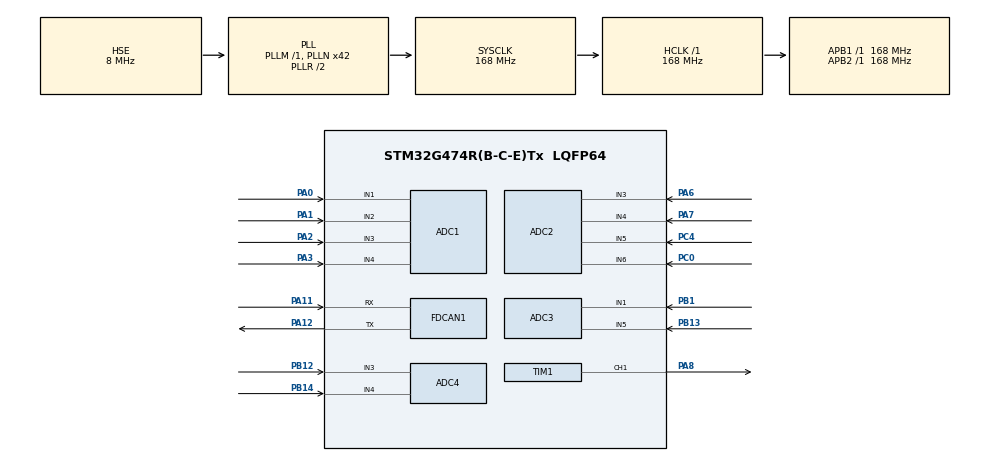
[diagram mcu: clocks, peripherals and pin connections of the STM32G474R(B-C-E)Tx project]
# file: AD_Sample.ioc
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ADC1.Channel-0\#ChannelRegularConversion=ADC_CHANNEL_1
ADC1.Channel-1\#ChannelRegularConversion=ADC_CHANNEL_2
ADC1.Channel-2\#ChannelRegularConversion=ADC_CHANNEL_3
ADC1.Channel-3\#ChannelRegularConversion=ADC_CHANNEL_4
ADC1.DiscontinuousConvMode=ENABLE
ADC1.ExternalTrigConv=ADC_SOFTWARE_START
ADC1.NbrOfConversion=4
ADC1.NbrOfConversionFlag=1
ADC1.NbrOfDiscConversion=4
ADC1.OffsetNumber-0\#ChannelRegularConversion=ADC_OFFSET_NONE
ADC1.OffsetNumber-1\#ChannelRegularConversion=ADC_OFFSET_NONE
ADC1.OffsetNumber-2\#ChannelRegularConversion=ADC_OFFSET_NONE
ADC1.OffsetNumber-3\#ChannelRegularConversion=ADC_OFFSET_NONE
ADC1.Rank-0\#ChannelRegularConversion=1
ADC1.Rank-1\#ChannelRegularConversion=2
ADC1.Rank-2\#ChannelRegularConversion=3
ADC1.Rank-3\#ChannelRegularConversion=4
ADC1.SamplingTime-0\#ChannelRegularConversion=ADC_SAMPLETIME_2CYCLES_5
ADC1.SamplingTime-1\#ChannelRegularConversion=ADC_SAMPLETIME_2CYCLES_5
ADC1.SamplingTime-2\#ChannelRegularConversion=ADC_SAMPLETIME_2CYCLES_5
ADC1.SamplingTime-3\#ChannelRegularConversion=ADC_SAMPLETIME_2CYCLES_5
ADC1.master=1
ADC2.Channel-0\#ChannelRegularConversion=ADC_CHANNEL_3
ADC2.Channel-1\#ChannelRegularConversion=ADC_CHANNEL_4
ADC2.Channel-2\#ChannelRegularConversion=ADC_CHANNEL_5
ADC2.Channel-3\#ChannelRegularConversion=ADC_CHANNEL_6
ADC2.DiscontinuousConvMode=ENABLE
ADC2.ExternalTrigConv=ADC_SOFTWARE_START
ADC2.NbrOfConversion=4
ADC2.NbrOfConversionFlag=1
ADC2.OffsetNumber-0\#ChannelRegularConversion=ADC_OFFSET_NONE
ADC2.OffsetNumber-1\#ChannelRegularConversion=ADC_OFFSET_NONE
ADC2.OffsetNumber-2\#ChannelRegularConversion=ADC_OFFSET_NONE
ADC2.OffsetNumber-3\#ChannelRegularConversion=ADC_OFFSET_NONE
ADC2.Rank-0\#ChannelRegularConversion=1
ADC2.Rank-1\#ChannelRegularConversion=2
ADC2.Rank-2\#ChannelRegularConversion=3
ADC2.Rank-3\#ChannelRegularConversion=4
ADC2.SamplingTime-0\#ChannelRegularConversion=ADC_SAMPLETIME_2CYCLES_5
ADC2.SamplingTime-1\#ChannelRegularConversion=ADC_SAMPLETIME_2CYCLES_5
ADC2.SamplingTime-2\#ChannelRegularConversion=ADC_SAMPLETIME_2CYCLES_5
ADC2.SamplingTime-3\#ChannelRegularConversion=ADC_SAMPLETIME_2CYCLES_5
ADC3.Channel-0\#ChannelRegularConversion=ADC_CHANNEL_1
ADC3.Channel-1\#ChannelRegularConversion=ADC_CHANNEL_5
ADC3.DiscontinuousConvMode=ENABLE
ADC3.ExternalTrigConv=ADC_SOFTWARE_START
ADC3.NbrOfConversion=2
ADC3.NbrOfConversionFlag=1
ADC3.OffsetNumber-0\#ChannelRegularConversion=ADC_OFFSET_NONE
ADC3.OffsetNumber-1\#ChannelRegularConversion=ADC_OFFSET_NONE
ADC3.Rank-0\#ChannelRegularConversion=1
ADC3.Rank-1\#ChannelRegularConversion=2
ADC3.SamplingTime-0\#ChannelRegularConversion=ADC_SAMPLETIME_2CYCLES_5
ADC3.SamplingTime-1\#ChannelRegularConversion=ADC_SAMPLETIME_2CYCLES_5
ADC3.master=1
ADC4.Channel-0\#ChannelRegularConversion=ADC_CHANNEL_3
ADC4.Channel-1\#ChannelRegularConversion=ADC_CHANNEL_4
ADC4.DiscontinuousConvMode=ENABLE
ADC4.ExternalTrigConv=ADC_SOFTWARE_START
ADC4.NbrOfConversion=2
ADC4.NbrOfConversionFlag=1
ADC4.OffsetNumber-0\#ChannelRegularConversion=ADC_OFFSET_NONE
ADC4.OffsetNumber-1\#ChannelRegularConversion=ADC_OFFSET_NONE
ADC4.Rank-0\#ChannelRegularConversion=1
ADC4.Rank-1\#ChannelRegularConversion=2
ADC4.SamplingTime-0\#ChannelRegularConversion=ADC_SAMPLETIME_2CYCLES_5
ADC4.SamplingTime-1\#ChannelRegularConversion=ADC_SAMPLETIME_2CYCLES_5
Dma.ADC1.2.Direction=DMA_PERIPH_TO_MEMORY
Dma.ADC1.2.EventEnable=DISABLE
Dma.ADC1.2.Instance=DMA1_Channel3
Dma.ADC1.2.MemDataAlignment=DMA_MDATAALIGN_HALFWORD
Dma.ADC1.2.MemInc=DMA_MINC_ENABLE
Dma.ADC1.2.Mode=DMA_CIRCULAR
Dma.ADC1.2.PeriphDataAlignment=DMA_PDATAALIGN_HALFWORD
Dma.ADC1.2.PeriphInc=DMA_PINC_DISABLE
Dma.ADC1.2.Polarity=HAL_DMAMUX_REQ_GEN_RISING
Dma.ADC1.2.Priority=DMA_PRIORITY_LOW
Dma.ADC1.2.RequestNumber=1
Dma.ADC1.2.SignalID=NONE
Dma.ADC1.2.SyncEnable=DISABLE
Dma.ADC1.2.SyncPolarity=HAL_DMAMUX_SYNC_NO_EVENT
Dma.ADC1.2.SyncRequestNumber=1
Dma.ADC1.2.SyncSignalID=NONE
Dma.ADC2.3.Direction=DMA_PERIPH_TO_MEMORY
Dma.ADC2.3.EventEnable=DISABLE
Dma.ADC2.3.Instance=DMA1_Channel4
Dma.ADC2.3.MemDataAlignment=DMA_MDATAALIGN_HALFWORD
Dma.ADC2.3.MemInc=DMA_MINC_ENABLE
Dma.ADC2.3.Mode=DMA_CIRCULAR
Dma.ADC2.3.PeriphDataAlignment=DMA_PDATAALIGN_HALFWORD
Dma.ADC2.3.PeriphInc=DMA_PINC_DISABLE
Dma.ADC2.3.Polarity=HAL_DMAMUX_REQ_GEN_RISING
Dma.ADC2.3.Priority=DMA_PRIORITY_LOW
Dma.ADC2.3.RequestNumber=1
Dma.ADC2.3.SignalID=NONE
Dma.ADC2.3.SyncEnable=DISABLE
Dma.ADC2.3.SyncPolarity=HAL_DMAMUX_SYNC_NO_EVENT
Dma.ADC2.3.SyncRequestNumber=1
Dma.ADC2.3.SyncSignalID=NONE
Dma.ADC3.4.Direction=DMA_PERIPH_TO_MEMORY
Dma.ADC3.4.EventEnable=DISABLE
Dma.ADC3.4.Instance=DMA1_Channel5
Dma.ADC3.4.MemDataAlignment=DMA_MDATAALIGN_HALFWORD
Dma.ADC3.4.MemInc=DMA_MINC_ENABLE
Dma.ADC3.4.Mode=DMA_CIRCULAR
Dma.ADC3.4.PeriphDataAlignment=DMA_PDATAALIGN_HALFWORD
Dma.ADC3.4.PeriphInc=DMA_PINC_DISABLE
Dma.ADC3.4.Polarity=HAL_DMAMUX_REQ_GEN_RISING
Dma.ADC3.4.Priority=DMA_PRIORITY_LOW
Dma.ADC3.4.RequestNumber=1
Dma.ADC3.4.SignalID=NONE
Dma.ADC3.4.SyncEnable=DISABLE
Dma.ADC3.4.SyncPolarity=HAL_DMAMUX_SYNC_NO_EVENT
Dma.ADC3.4.SyncRequestNumber=1
Dma.ADC3.4.SyncSignalID=NONE
Dma.ADC4.5.Direction=DMA_PERIPH_TO_MEMORY
Dma.ADC4.5.EventEnable=DISABLE
Dma.ADC4.5.Instance=DMA1_Channel6
Dma.ADC4.5.MemDataAlignment=DMA_MDATAALIGN_HALFWORD
Dma.ADC4.5.MemInc=DMA_MINC_ENABLE
Dma.ADC4.5.Mode=DMA_CIRCULAR
Dma.ADC4.5.PeriphDataAlignment=DMA_PDATAALIGN_HALFWORD
Dma.ADC4.5.PeriphInc=DMA_PINC_DISABLE
Dma.ADC4.5.Polarity=HAL_DMAMUX_REQ_GEN_RISING
Dma.ADC4.5.Priority=DMA_PRIORITY_LOW
Dma.ADC4.5.RequestNumber=1
Dma.ADC4.5.SignalID=NONE
Dma.ADC4.5.SyncEnable=DISABLE
Dma.ADC4.5.SyncPolarity=HAL_DMAMUX_SYNC_NO_EVENT
Dma.ADC4.5.SyncRequestNumber=1
Dma.ADC4.5.SyncSignalID=NONE
Dma.CORDIC_READ.0.Direction=DMA_PERIPH_TO_MEMORY
Dma.CORDIC_READ.0.EventEnable=DISABLE
Dma.CORDIC_READ.0.Instance=DMA1_Channel1
Dma.CORDIC_READ.0.MemDataAlignment=DMA_MDATAALIGN_WORD
Dma.CORDIC_READ.0.MemInc=DMA_MINC_ENABLE
Dma.CORDIC_READ.0.Mode=DMA_NORMAL
Dma.CORDIC_READ.0.PeriphDataAlignment=DMA_PDATAALIGN_WORD
Dma.CORDIC_READ.0.PeriphInc=DMA_PINC_DISABLE
Dma.CORDIC_READ.0.Polarity=HAL_DMAMUX_REQ_GEN_RISING
Dma.CORDIC_READ.0.Priority=DMA_PRIORITY_LOW
Dma.CORDIC_READ.0.RequestNumber=1
Dma.CORDIC_READ.0.SignalID=NONE
Dma.CORDIC_READ.0.SyncEnable=DISABLE
Dma.CORDIC_READ.0.SyncPolarity=HAL_DMAMUX_SYNC_NO_EVENT
Dma.CORDIC_READ.0.SyncRequestNumber=1
Dma.CORDIC_READ.0.SyncSignalID=NONE
Dma.CORDIC_WRITE.1.Direction=DMA_MEMORY_TO_PERIPH
Dma.CORDIC_WRITE.1.EventEnable=DISABLE
Dma.CORDIC_WRITE.1.Instance=DMA1_Channel2
Dma.CORDIC_WRITE.1.MemDataAlignment=DMA_MDATAALIGN_WORD
Dma.CORDIC_WRITE.1.MemInc=DMA_MINC_ENABLE
Dma.CORDIC_WRITE.1.Mode=DMA_NORMAL
Dma.CORDIC_WRITE.1.PeriphDataAlignment=DMA_PDATAALIGN_WORD
Dma.CORDIC_WRITE.1.PeriphInc=DMA_PINC_DISABLE
Dma.CORDIC_WRITE.1.Polarity=HAL_DMAMUX_REQ_GEN_RISING
Dma.CORDIC_WRITE.1.Priority=DMA_PRIORITY_LOW
Dma.CORDIC_WRITE.1.RequestNumber=1
Dma.CORDIC_WRITE.1.SignalID=NONE
Dma.CORDIC_WRITE.1.SyncEnable=DISABLE
Dma.CORDIC_WRITE.1.SyncPolarity=HAL_DMAMUX_SYNC_NO_EVENT
Dma.CORDIC_WRITE.1.SyncRequestNumber=1
Dma.CORDIC_WRITE.1.SyncSignalID=NONE
Dma.Request0=CORDIC_READ
Dma.Request1=CORDIC_WRITE
Dma.Request2=ADC1
Dma.Request3=ADC2
Dma.Request4=ADC3
Dma.Request5=ADC4
FDCAN1.CalculateBaudRateNominal=1000000
FDCAN1.CalculateTimeBitNominal=1000
FDCAN1.CalculateTimeQuantumNominal=35.714285714285715
FDCAN1.NominalPrescaler=6
FDCAN1.NominalTimeSeg1=14
FDCAN1.NominalTimeSeg2=13
Mcu.Family=STM32G4
Mcu.Name=STM32G474R(B-C-E)Tx
Mcu.Package=LQFP64
NVIC.DMA1_Channel1_IRQn=true\:0\:0\:false\:false\:true\:false\:true\:true
NVIC.DMA1_Channel2_IRQn=true\:0\:0\:false\:false\:true\:false\:true\:true
NVIC.DMA1_Channel3_IRQn=true\:0\:0\:false\:false\:true\:false\:true\:true
NVIC.DMA1_Channel4_IRQn=true\:0\:0\:false\:false\:true\:false\:true\:true
NVIC.DMA1_Channel5_IRQn=true\:0\:0\:false\:false\:true\:false\:true\:true
NVIC.DMA1_Channel6_IRQn=true\:0\:0\:false\:false\:true\:false\:true\:true
NVIC.FDCAN1_IT0_IRQn=true\:0\:0\:false\:false\:true\:true\:true\:true
NVIC.PriorityGroup=NVIC_PRIORITYGROUP_4
NVIC.TIM2_IRQn=true\:0\:0\:false\:false\:true\:true\:true\:true
PA0.Mode=IN1-Single-Ended
PA0.Signal=ADC1_IN1
PA1.Mode=IN2-Single-Ended
PA1.Signal=ADC1_IN2
PA11.Mode=FDCAN_Activate
PA11.Signal=FDCAN1_RX
PA12.Mode=FDCAN_Activate
PA12.Signal=FDCAN1_TX
PA13.Mode=Serial_Wire
PA13.Signal=SYS_JTMS-SWDIO
PA14.Mode=Serial_Wire
PA14.Signal=SYS_JTCK-SWCLK
PA2.Mode=IN3-Single-Ended
PA2.Signal=ADC1_IN3
PA3.Mode=IN4-Single-Ended
PA3.Signal=ADC1_IN4
PA6.Mode=IN3-Single-Ended
PA6.Signal=ADC2_IN3
PA7.Mode=IN4-Single-Ended
PA7.Signal=ADC2_IN4
PA8.Signal=S_TIM1_CH1
PB1.Mode=IN1-Single-Ended
PB1.Signal=ADC3_IN1
PB12.Mode=IN3-Single-Ended
PB12.Signal=ADC4_IN3
PB13.Mode=IN5-Single-Ended
PB13.Signal=ADC3_IN5
PB14.Mode=IN4-Single-Ended
PB14.Signal=ADC4_IN4
PC0.Mode=IN6-Single-Ended
PC0.Signal=ADC2_IN6
PC4.Mode=IN5-Single-Ended
PC4.Signal=ADC2_IN5
PF0-OSC_IN.Mode=HSE-External-Oscillator
PF0-OSC_IN.Signal=RCC_OSC_IN
PF1-OSC_OUT.Mode=HSE-External-Oscillator
PF1-OSC_OUT.Signal=RCC_OSC_OUT
ProjectManager.HeapSize=0x200
ProjectManager.StackSize=0x400
ProjectManager.TargetToolchain=MDK-ARM V5.32
RCC.ADC12Freq_Value=168000000
RCC.ADC345Freq_Value=168000000
RCC.AHBFreq_Value=168000000
RCC.APB1Freq_Value=168000000
RCC.APB1TimFreq_Value=168000000
RCC.APB2Freq_Value=168000000
RCC.APB2TimFreq_Value=168000000
RCC.CortexFreq_Value=168000000
RCC.EXTERNAL_CLOCK_VALUE=12288000
RCC.HCLKFreq_Value=168000000
RCC.HSE_VALUE=8000000
RCC.HSI48_VALUE=48000000
RCC.HSI_VALUE=16000000
RCC.LSE_VALUE=32768
RCC.PLLN=42
RCC.PLLSourceVirtual=RCC_PLLSOURCE_HSE
RCC.SYSCLKFreq_VALUE=168000000
RCC.SYSCLKSource=RCC_SYSCLKSOURCE_PLLCLK
RCC.USBFreq_Value=168000000
RCC.VCOOutputFreq_Value=336000000
SH.S_TIM1_CH1.0=TIM1_CH1,PWM Generation1 CH1
TIM1.Channel-PWM\ Generation1\ CH1=TIM_CHANNEL_1
TIM1.PeriodNoDither=1000-1
TIM1.Prescaler=168-1
TIM1.PulseNoDither_1=500
TIM2.PeriodNoDither=50-1
TIM2.Prescaler=168-1
TIM2.TIM_MasterOutputTrigger=TIM_TRGO_UPDATE
VP_CORDIC_VS_CORDIC.Mode=CORDIC_Activate
VP_FMAC_VS_FMAC.Mode=FMAC_Activate
VP_SYS_VS_DBSignals.Mode=DisableDeadBatterySignals
VP_TIM2_VS_ClockSourceINT.Mode=Internal
board=custom

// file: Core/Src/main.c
/* USER CODE BEGIN Header */
/**
  ******************************************************************************
  * @file           : main.c
  * @brief          : Main program body
  ******************************************************************************
  * @attention
  *
  * Copyright (c) 2024 STMicroelectronics.
  * All rights reserved.
  *
  * This software is licensed under terms that can be found in the LICENSE file
  * in the root directory of this software component.
  * If no LICENSE file comes with this software, it is provided AS-IS.
  *
  ******************************************************************************
  */
/* USER CODE END Header */
#include "main.h"

/* USER CODE BEGIN PTD */
#define CHANNEL_A 4
#define CHANNEL_B 2
/* USER CODE END PTD */

/* USER CODE BEGIN PM */
void Average_ADC_Value(void);
void LED_Control(void);
uint8_t FDCAN1_Send_Msg(uint8_t* msg,uint32_t len);
/* USER CODE END PM */

ADC_HandleTypeDef hadc1;
ADC_HandleTypeDef hadc2;
ADC_HandleTypeDef hadc3;
ADC_HandleTypeDef hadc4;
DMA_HandleTypeDef hdma_adc1;
DMA_HandleTypeDef hdma_adc2;
DMA_HandleTypeDef hdma_adc3;
DMA_HandleTypeDef hdma_adc4;

CORDIC_HandleTypeDef hcordic;
DMA_HandleTypeDef hdma_cordic_read;
DMA_HandleTypeDef hdma_cordic_write;

FDCAN_HandleTypeDef hfdcan1;

FMAC_HandleTypeDef hfmac;

TIM_HandleTypeDef htim1;
TIM_HandleTypeDef htim2;

/* USER CODE BEGIN PV */
FDCAN_FilterTypeDef FDCAN1_RXFilter;
FDCAN_TxHeaderTypeDef fdcan1_TxHeader;
uint8_t TIM2_Flag=0;
uint8_t ADC_CAN_Value[16];

uint16_t ADC1_Value[4];
uint16_t ADC2_Value[4];
uint16_t ADC3_Value[2];
uint16_t ADC4_Value[2];

uint16_t ADC_Send[4];

int TIM2_Count=0;
int Can1_Count=0;
float TIM_Duty=0;
float LED_Frequency=1;//灯的频率
uint32_t Sample_Frequency=20000;//采样频率20k
float ADC_Mean[12][4];//十个ADC四次均值滤波
float ADC_Value[12];//十个ADC反馈转换为10000量程
float sin_test,cos_test;//cordic加速生成的sin cos测试变量，用于呼吸灯
/* USER CODE END PV */

void SystemClock_Config(void);
static void MX_GPIO_Init(void);
static void MX_DMA_Init(void);
static void MX_ADC1_Init(void);
static void MX_ADC2_Init(void);
static void MX_ADC3_Init(void);
static void MX_ADC4_Init(void);
static void MX_FDCAN1_Init(void);
static void MX_TIM1_Init(void);
static void MX_TIM2_Init(void);
static void MX_CORDIC_Init(void);
static void MX_FMAC_Init(void);

int main(void)
{

  /* MCU Configuration--------------------------------------------------------*/

  /* Reset of all peripherals, Initializes the Flash interface and the Systick. */
  HAL_Init();

  /* Configure the system clock */
  SystemClock_Config();

  /* Initialize all configured peripherals */
  MX_GPIO_Init();
  MX_DMA_Init();
  MX_ADC1_Init();
  MX_ADC2_Init();
  MX_ADC3_Init();
  MX_ADC4_Init();
  MX_FDCAN1_Init();
  MX_TIM1_Init();
  MX_TIM2_Init();
  MX_CORDIC_Init();
  MX_FMAC_Init();
  /* USER CODE BEGIN 2 */
	SysTick_Config(168000);//1ms时基

	HAL_TIM_Base_Start_IT(&htim2);
	HAL_TIM_Base_Start_IT(&htim1);

	HAL_TIM_PWM_Start(&htim1,TIM_CHANNEL_1);

//	HAL_ADC_Start(&hadc1);
//	HAL_ADC_Start(&hadc2);
//	HAL_ADC_Start(&hadc3);
//	HAL_ADC_Start(&hadc4);
//
//	HAL_ADCEx_Calibration_Start(&hadc1,ADC_SINGLE_ENDED);
//	HAL_ADCEx_Calibration_Start(&hadc2,ADC_SINGLE_ENDED);
//	HAL_ADCEx_Calibration_Start(&hadc3,ADC_SINGLE_ENDED);
//	HAL_ADCEx_Calibration_Start(&hadc4,ADC_SINGLE_ENDED);

	HAL_ADC_Start_DMA(&hadc1,(uint32_t*)ADC1_Value,CHANNEL_A);
	HAL_ADC_Start_DMA(&hadc2,(uint32_t*)ADC2_Value,CHANNEL_A);
	HAL_ADC_Start_DMA(&hadc3,(uint32_t*)ADC3_Value,CHANNEL_B);
	HAL_ADC_Start_DMA(&hadc4,(uint32_t*)ADC4_Value,CHANNEL_B);

	cordic_config();//初始化cordic
  /* USER CODE END 2 */

  /* Infinite loop */
  while (1)
  {

    /* USER CODE BEGIN 3 */
		if(TIM2_Flag)//实现20000Hz分频
		{
			LED_Control();//LED控制

			HAL_ADC_Start_DMA(&hadc1,(uint32_t*)ADC1_Value,CHANNEL_A);
			HAL_ADC_Start_DMA(&hadc2,(uint32_t*)ADC2_Value,CHANNEL_A);
			HAL_ADC_Start_DMA(&hadc3,(uint32_t*)ADC3_Value,CHANNEL_B);
			HAL_ADC_Start_DMA(&hadc4,(uint32_t*)ADC4_Value,CHANNEL_B);

			Average_ADC_Value();//ADC的参数均值滤波

			ADC_Send[0]=(unsigned int)ADC_Value[0];
			ADC_Send[1]=(unsigned int)ADC_Value[1];
			ADC_Send[2]=(unsigned int)ADC_Value[2];
			ADC_Send[3]=(unsigned int)ADC_Value[3];

//			ADC_Send[0]=30;
//			ADC_Send[1]=40;
//			ADC_Send[2]=50;
//			ADC_Send[3]=60;

			ADC_CAN_Value[0]=ADC_Send[0];
			ADC_CAN_Value[1]=ADC_Send[0]>>8;

			ADC_CAN_Value[2]=ADC_Send[1];
			ADC_CAN_Value[3]=ADC_Send[1]>>8;

			ADC_CAN_Value[4]=ADC_Send[2];
			ADC_CAN_Value[5]=ADC_Send[2]>>8;

			ADC_CAN_Value[6]=ADC_Send[3];
			ADC_CAN_Value[7]=ADC_Send[3]>>8;

//			ADC_CAN_Value[8]=(uint8_t)ADC_Value[2]>>24;
//			ADC_CAN_Value[9]=(uint8_t)ADC_Value[2]>>16;
//			ADC_CAN_Value[10]=(uint8_t)ADC_Value[2]>>8;
//			ADC_CAN_Value[11]=(uint8_t)ADC_Value[2];
//
//			ADC_CAN_Value[12]=(uint8_t)ADC_Value[3]>>24;
//			ADC_CAN_Value[13]=(uint8_t)ADC_Value[3]>>16;
//			ADC_CAN_Value[14]=(uint8_t)ADC_Value[3]>>8;
//			ADC_CAN_Value[15]=(uint8_t)ADC_Value[3];

			Can1_Count++;
			if(Can1_Count==20)
			{
				Can1_Count=0;
				FDCAN1_Send_Msg((uint8_t*)ADC_CAN_Value,8);
			}
			TIM2_Flag=0;
		}
  }
  /* USER CODE END 3 */
}

void SystemClock_Config(void)
{
  RCC_OscInitTypeDef RCC_OscInitStruct = {0};
  RCC_ClkInitTypeDef RCC_ClkInitStruct = {0};

  /** Configure the main internal regulator output voltage
  */
  HAL_PWREx_ControlVoltageScaling(PWR_REGULATOR_VOLTAGE_SCALE1_BOOST);

  /** Initializes the RCC Oscillators according to the specified parameters
  * in the RCC_OscInitTypeDef structure.
  */
  RCC_OscInitStruct.OscillatorType = RCC_OSCILLATORTYPE_HSE;
  RCC_OscInitStruct.HSEState = RCC_HSE_ON;
  RCC_OscInitStruct.PLL.PLLState = RCC_PLL_ON;
  RCC_OscInitStruct.PLL.PLLSource = RCC_PLLSOURCE_HSE;
  RCC_OscInitStruct.PLL.PLLM = RCC_PLLM_DIV1;
  RCC_OscInitStruct.PLL.PLLN = 42;
  RCC_OscInitStruct.PLL.PLLP = RCC_PLLP_DIV2;
  RCC_OscInitStruct.PLL.PLLQ = RCC_PLLQ_DIV2;
  RCC_OscInitStruct.PLL.PLLR = RCC_PLLR_DIV2;
  if (HAL_RCC_OscConfig(&RCC_OscInitStruct) != HAL_OK)
  {
    Error_Handler();
  }

  /** Initializes the CPU, AHB and APB buses clocks
  */
  RCC_ClkInitStruct.ClockType = RCC_CLOCKTYPE_HCLK|RCC_CLOCKTYPE_SYSCLK
                              |RCC_CLOCKTYPE_PCLK1|RCC_CLOCKTYPE_PCLK2;
  RCC_ClkInitStruct.SYSCLKSource = RCC_SYSCLKSOURCE_PLLCLK;
  RCC_ClkInitStruct.AHBCLKDivider = RCC_SYSCLK_DIV1;
  RCC_ClkInitStruct.APB1CLKDivider = RCC_HCLK_DIV1;
  RCC_ClkInitStruct.APB2CLKDivider = RCC_HCLK_DIV1;

  if (HAL_RCC_ClockConfig(&RCC_ClkInitStruct, FLASH_LATENCY_4) != HAL_OK)
  {
    Error_Handler();
  }
}

static void MX_ADC1_Init(void)
{

  ADC_MultiModeTypeDef multimode = {0};
  ADC_ChannelConfTypeDef sConfig = {0};

  /** Common config
  */
  hadc1.Instance = ADC1;
  hadc1.Init.ClockPrescaler = ADC_CLOCK_SYNC_PCLK_DIV4;
  hadc1.Init.Resolution = ADC_RESOLUTION_12B;
  hadc1.Init.DataAlign = ADC_DATAALIGN_RIGHT;
  hadc1.Init.GainCompensation = 0;
  hadc1.Init.ScanConvMode = ADC_SCAN_ENABLE;
  hadc1.Init.EOCSelection = ADC_EOC_SINGLE_CONV;
  hadc1.Init.LowPowerAutoWait = DISABLE;
  hadc1.Init.ContinuousConvMode = DISABLE;
  hadc1.Init.NbrOfConversion = 4;
  hadc1.Init.DiscontinuousConvMode = ENABLE;
  hadc1.Init.NbrOfDiscConversion = 4;
  hadc1.Init.ExternalTrigConv = ADC_SOFTWARE_START;
  hadc1.Init.ExternalTrigConvEdge = ADC_EXTERNALTRIGCONVEDGE_NONE;
  hadc1.Init.DMAContinuousRequests = DISABLE;
  hadc1.Init.Overrun = ADC_OVR_DATA_PRESERVED;
  hadc1.Init.OversamplingMode = DISABLE;
  if (HAL_ADC_Init(&hadc1) != HAL_OK)
  {
    Error_Handler();
  }

  /** Configure the ADC multi-mode
  */
  multimode.Mode = ADC_MODE_INDEPENDENT;
  if (HAL_ADCEx_MultiModeConfigChannel(&hadc1, &multimode) != HAL_OK)
  {
    Error_Handler();
  }

  /** Configure Regular Channel
  */
  sConfig.Channel = ADC_CHANNEL_1;
  sConfig.Rank = ADC_REGULAR_RANK_1;
  sConfig.SamplingTime = ADC_SAMPLETIME_2CYCLES_5;
  sConfig.SingleDiff = ADC_SINGLE_ENDED;
  sConfig.OffsetNumber = ADC_OFFSET_NONE;
  sConfig.Offset = 0;
  if (HAL_ADC_ConfigChannel(&hadc1, &sConfig) != HAL_OK)
  {
    Error_Handler();
  }

  /** Configure Regular Channel
  */
  sConfig.Channel = ADC_CHANNEL_2;
  sConfig.Rank = ADC_REGULAR_RANK_2;
  if (HAL_ADC_ConfigChannel(&hadc1, &sConfig) != HAL_OK)
  {
    Error_Handler();
  }

  /** Configure Regular Channel
  */
  sConfig.Channel = ADC_CHANNEL_3;
  sConfig.Rank = ADC_REGULAR_RANK_3;
  if (HAL_ADC_ConfigChannel(&hadc1, &sConfig) != HAL_OK)
  {
    Error_Handler();
  }

  /** Configure Regular Channel
  */
  sConfig.Channel = ADC_CHANNEL_4;
  sConfig.Rank = ADC_REGULAR_RANK_4;
  if (HAL_ADC_ConfigChannel(&hadc1, &sConfig) != HAL_OK)
  {
    Error_Handler();
  }

}

static void MX_ADC2_Init(void)
{

  ADC_ChannelConfTypeDef sConfig = {0};

  /** Common config
  */
  hadc2.Instance = ADC2;
  hadc2.Init.ClockPrescaler = ADC_CLOCK_SYNC_PCLK_DIV4;
  hadc2.Init.Resolution = ADC_RESOLUTION_12B;
  hadc2.Init.DataAlign = ADC_DATAALIGN_RIGHT;
  hadc2.Init.GainCompensation = 0;
  hadc2.Init.ScanConvMode = ADC_SCAN_ENABLE;
  hadc2.Init.EOCSelection = ADC_EOC_SINGLE_CONV;
  hadc2.Init.LowPowerAutoWait = DISABLE;
  hadc2.Init.ContinuousConvMode = DISABLE;
  hadc2.Init.NbrOfConversion = 4;
  hadc2.Init.DiscontinuousConvMode = ENABLE;
  hadc2.Init.NbrOfDiscConversion = 1;
  hadc2.Init.ExternalTrigConv = ADC_SOFTWARE_START;
  hadc2.Init.ExternalTrigConvEdge = ADC_EXTERNALTRIGCONVEDGE_NONE;
  hadc2.Init.DMAContinuousRequests = DISABLE;
  hadc2.Init.Overrun = ADC_OVR_DATA_PRESERVED;
  hadc2.Init.OversamplingMode = DISABLE;
  if (HAL_ADC_Init(&hadc2) != HAL_OK)
  {
    Error_Handler();
  }

  /** Configure Regular Channel
  */
  sConfig.Channel = ADC_CHANNEL_3;
  sConfig.Rank = ADC_REGULAR_RANK_1;
  sConfig.SamplingTime = ADC_SAMPLETIME_2CYCLES_5;
  sConfig.SingleDiff = ADC_SINGLE_ENDED;
  sConfig.OffsetNumber = ADC_OFFSET_NONE;
  sConfig.Offset = 0;
  if (HAL_ADC_ConfigChannel(&hadc2, &sConfig) != HAL_OK)
  {
    Error_Handler();
  }

  /** Configure Regular Channel
  */
  sConfig.Channel = ADC_CHANNEL_4;
  sConfig.Rank = ADC_REGULAR_RANK_2;
  if (HAL_ADC_ConfigChannel(&hadc2, &sConfig) != HAL_OK)
  {
    Error_Handler();
  }

  /** Configure Regular Channel
  */
  sConfig.Channel = ADC_CHANNEL_5;
  sConfig.Rank = ADC_REGULAR_RANK_3;
  if (HAL_ADC_ConfigChannel(&hadc2, &sConfig) != HAL_OK)
  {
    Error_Handler();
  }

  /** Configure Regular Channel
  */
  sConfig.Channel = ADC_CHANNEL_6;
  sConfig.Rank = ADC_REGULAR_RANK_4;
  if (HAL_ADC_ConfigChannel(&hadc2, &sConfig) != HAL_OK)
  {
    Error_Handler();
  }

}

static void MX_ADC3_Init(void)
{

  ADC_MultiModeTypeDef multimode = {0};
  ADC_ChannelConfTypeDef sConfig = {0};

  /** Common config
  */
  hadc3.Instance = ADC3;
  hadc3.Init.ClockPrescaler = ADC_CLOCK_SYNC_PCLK_DIV4;
  hadc3.Init.Resolution = ADC_RESOLUTION_12B;
  hadc3.Init.DataAlign = ADC_DATAALIGN_RIGHT;
  hadc3.Init.GainCompensation = 0;
  hadc3.Init.ScanConvMode = ADC_SCAN_ENABLE;
  hadc3.Init.EOCSelection = ADC_EOC_SINGLE_CONV;
  hadc3.Init.LowPowerAutoWait = DISABLE;
  hadc3.Init.ContinuousConvMode = DISABLE;
  hadc3.Init.NbrOfConversion = 2;
  hadc3.Init.DiscontinuousConvMode = ENABLE;
  hadc3.Init.NbrOfDiscConversion = 1;
  hadc3.Init.ExternalTrigConv = ADC_SOFTWARE_START;
  hadc3.Init.ExternalTrigConvEdge = ADC_EXTERNALTRIGCONVEDGE_NONE;
  hadc3.Init.DMAContinuousRequests = DISABLE;
  hadc3.Init.Overrun = ADC_OVR_DATA_PRESERVED;
  hadc3.Init.OversamplingMode = DISABLE;
  if (HAL_ADC_Init(&hadc3) != HAL_OK)
  {
    Error_Handler();
  }

  /** Configure the ADC multi-mode
  */
  multimode.Mode = ADC_MODE_INDEPENDENT;
  if (HAL_ADCEx_MultiModeConfigChannel(&hadc3, &multimode) != HAL_OK)
  {
    Error_Handler();
  }

  /** Configure Regular Channel
  */
  sConfig.Channel = ADC_CHANNEL_1;
  sConfig.Rank = ADC_REGULAR_RANK_1;
  sConfig.SamplingTime = ADC_SAMPLETIME_2CYCLES_5;
  sConfig.SingleDiff = ADC_SINGLE_ENDED;
  sConfig.OffsetNumber = ADC_OFFSET_NONE;
  sConfig.Offset = 0;
  if (HAL_ADC_ConfigChannel(&hadc3, &sConfig) != HAL_OK)
  {
    Error_Handler();
  }

  /** Configure Regular Channel
  */
  sConfig.Channel = ADC_CHANNEL_5;
  sConfig.Rank = ADC_REGULAR_RANK_2;
  if (HAL_ADC_ConfigChannel(&hadc3, &sConfig) != HAL_OK)
  {
    Error_Handler();
  }

}

static void MX_ADC4_Init(void)
{

  ADC_ChannelConfTypeDef sConfig = {0};

  /** Common config
  */
  hadc4.Instance = ADC4;
  hadc4.Init.ClockPrescaler = ADC_CLOCK_SYNC_PCLK_DIV4;
  hadc4.Init.Resolution = ADC_RESOLUTION_12B;
  hadc4.Init.DataAlign = ADC_DATAALIGN_RIGHT;
  hadc4.Init.GainCompensation = 0;
  hadc4.Init.ScanConvMode = ADC_SCAN_ENABLE;
  hadc4.Init.EOCSelection = ADC_EOC_SINGLE_CONV;
  hadc4.Init.LowPowerAutoWait = DISABLE;
  hadc4.Init.ContinuousConvMode = DISABLE;
  hadc4.Init.NbrOfConversion = 2;
  hadc4.Init.DiscontinuousConvMode = ENABLE;
  hadc4.Init.NbrOfDiscConversion = 1;
  hadc4.Init.ExternalTrigConv = ADC_SOFTWARE_START;
  hadc4.Init.ExternalTrigConvEdge = ADC_EXTERNALTRIGCONVEDGE_NONE;
  hadc4.Init.DMAContinuousRequests = DISABLE;
  hadc4.Init.Overrun = ADC_OVR_DATA_PRESERVED;
  hadc4.Init.OversamplingMode = DISABLE;
  if (HAL_ADC_Init(&hadc4) != HAL_OK)
  {
    Error_Handler();
  }

  /** Configure Regular Channel
  */
  sConfig.Channel = ADC_CHANNEL_3;
  sConfig.Rank = ADC_REGULAR_RANK_1;
  sConfig.SamplingTime = ADC_SAMPLETIME_2CYCLES_5;
  sConfig.SingleDiff = ADC_SINGLE_ENDED;
  sConfig.OffsetNumber = ADC_OFFSET_NONE;
  sConfig.Offset = 0;
  if (HAL_ADC_ConfigChannel(&hadc4, &sConfig) != HAL_OK)
  {
    Error_Handler();
  }

  /** Configure Regular Channel
  */
  sConfig.Channel = ADC_CHANNEL_4;
  sConfig.Rank = ADC_REGULAR_RANK_2;
  if (HAL_ADC_ConfigChannel(&hadc4, &sConfig) != HAL_OK)
  {
    Error_Handler();
  }

}

static void MX_CORDIC_Init(void)
{

  hcordic.Instance = CORDIC;
  if (HAL_CORDIC_Init(&hcordic) != HAL_OK)
  {
    Error_Handler();
  }

}

static void MX_FDCAN1_Init(void)
{

  hfdcan1.Instance = FDCAN1;
  hfdcan1.Init.ClockDivider = FDCAN_CLOCK_DIV1;
  hfdcan1.Init.FrameFormat = FDCAN_FRAME_CLASSIC;
  hfdcan1.Init.Mode = FDCAN_MODE_NORMAL;
  hfdcan1.Init.AutoRetransmission = DISABLE;
  hfdcan1.Init.TransmitPause = DISABLE;
  hfdcan1.Init.ProtocolException = DISABLE;
  hfdcan1.Init.NominalPrescaler = 6;
  hfdcan1.Init.NominalSyncJumpWidth = 1;
  hfdcan1.Init.NominalTimeSeg1 = 14;
  hfdcan1.Init.NominalTimeSeg2 = 13;
  hfdcan1.Init.DataPrescaler = 1;
  hfdcan1.Init.DataSyncJumpWidth = 1;
  hfdcan1.Init.DataTimeSeg1 = 1;
  hfdcan1.Init.DataTimeSeg2 = 1;
  hfdcan1.Init.StdFiltersNbr = 0;
  hfdcan1.Init.ExtFiltersNbr = 0;
  hfdcan1.Init.TxFifoQueueMode = FDCAN_TX_FIFO_OPERATION;
  if (HAL_FDCAN_Init(&hfdcan1) != HAL_OK)
  {
    Error_Handler();
  }
  /* USER CODE BEGIN FDCAN1_Init 2 */
	//配置RX滤波器
  FDCAN1_RXFilter.IdType=FDCAN_STANDARD_ID;                       //标准ID
  FDCAN1_RXFilter.FilterIndex=0;                                  //滤波器索引
  FDCAN1_RXFilter.FilterType=FDCAN_FILTER_MASK;                   //滤波器类型
  FDCAN1_RXFilter.FilterConfig=FDCAN_FILTER_TO_RXFIFO0;           //过滤器0关联到FIFO0
  FDCAN1_RXFilter.FilterID1=0x0000;                               //32位ID
  FDCAN1_RXFilter.FilterID2=0x0000;                               //如果FDCAN配置为传统模式的话，这里是32位掩码
  if(HAL_FDCAN_ConfigFilter(&hfdcan1,&FDCAN1_RXFilter)!=HAL_OK) //滤波器初始化
	{
		Error_Handler();
	}
  HAL_FDCAN_Start(&hfdcan1);                               //开启FDCAN
  HAL_FDCAN_ActivateNotification(&hfdcan1,FDCAN_IT_RX_FIFO0_NEW_MESSAGE,0);
  /* USER CODE END FDCAN1_Init 2 */

}

static void MX_FMAC_Init(void)
{

  hfmac.Instance = FMAC;
  if (HAL_FMAC_Init(&hfmac) != HAL_OK)
  {
    Error_Handler();
  }

}

static void MX_TIM1_Init(void)
{

  TIM_MasterConfigTypeDef sMasterConfig = {0};
  TIM_OC_InitTypeDef sConfigOC = {0};
  TIM_BreakDeadTimeConfigTypeDef sBreakDeadTimeConfig = {0};

  htim1.Instance = TIM1;
  htim1.Init.Prescaler = 168-1;
  htim1.Init.CounterMode = TIM_COUNTERMODE_UP;
  htim1.Init.Period = 999;
  htim1.Init.ClockDivision = TIM_CLOCKDIVISION_DIV1;
  htim1.Init.RepetitionCounter = 0;
  htim1.Init.AutoReloadPreload = TIM_AUTORELOAD_PRELOAD_DISABLE;
  if (HAL_TIM_PWM_Init(&htim1) != HAL_OK)
  {
    Error_Handler();
  }
  sMasterConfig.MasterOutputTrigger = TIM_TRGO_RESET;
  sMasterConfig.MasterOutputTrigger2 = TIM_TRGO2_RESET;
  sMasterConfig.MasterSlaveMode = TIM_MASTERSLAVEMODE_DISABLE;
  if (HAL_TIMEx_MasterConfigSynchronization(&htim1, &sMasterConfig) != HAL_OK)
  {
    Error_Handler();
  }
  sConfigOC.OCMode = TIM_OCMODE_PWM1;
  sConfigOC.Pulse = 500;
  sConfigOC.OCPolarity = TIM_OCPOLARITY_HIGH;
  sConfigOC.OCNPolarity = TIM_OCNPOLARITY_HIGH;
  sConfigOC.OCFastMode = TIM_OCFAST_DISABLE;
  sConfigOC.OCIdleState = TIM_OCIDLESTATE_RESET;
  sConfigOC.OCNIdleState = TIM_OCNIDLESTATE_RESET;
  if (HAL_TIM_PWM_ConfigChannel(&htim1, &sConfigOC, TIM_CHANNEL_1) != HAL_OK)
  {
    Error_Handler();
  }
  sBreakDeadTimeConfig.OffStateRunMode = TIM_OSSR_DISABLE;
  sBreakDeadTimeConfig.OffStateIDLEMode = TIM_OSSI_DISABLE;
  sBreakDeadTimeConfig.LockLevel = TIM_LOCKLEVEL_OFF;
  sBreakDeadTimeConfig.DeadTime = 0;
  sBreakDeadTimeConfig.BreakState = TIM_BREAK_DISABLE;
  sBreakDeadTimeConfig.BreakPolarity = TIM_BREAKPOLARITY_HIGH;
  sBreakDeadTimeConfig.BreakFilter = 0;
  sBreakDeadTimeConfig.BreakAFMode = TIM_BREAK_AFMODE_INPUT;
  sBreakDeadTimeConfig.Break2State = TIM_BREAK2_DISABLE;
  sBreakDeadTimeConfig.Break2Polarity = TIM_BREAK2POLARITY_HIGH;
  sBreakDeadTimeConfig.Break2Filter = 0;
  sBreakDeadTimeConfig.Break2AFMode = TIM_BREAK_AFMODE_INPUT;
  sBreakDeadTimeConfig.AutomaticOutput = TIM_AUTOMATICOUTPUT_DISABLE;
  if (HAL_TIMEx_ConfigBreakDeadTime(&htim1, &sBreakDeadTimeConfig) != HAL_OK)
  {
    Error_Handler();
  }
  HAL_TIM_MspPostInit(&htim1);

}

static void MX_TIM2_Init(void)
{

  TIM_ClockConfigTypeDef sClockSourceConfig = {0};
  TIM_MasterConfigTypeDef sMasterConfig = {0};

  htim2.Instance = TIM2;
  htim2.Init.Prescaler = 168-1;
  htim2.Init.CounterMode = TIM_COUNTERMODE_UP;
  htim2.Init.Period = 49;
  htim2.Init.ClockDivision = TIM_CLOCKDIVISION_DIV1;
  htim2.Init.AutoReloadPreload = TIM_AUTORELOAD_PRELOAD_DISABLE;
  if (HAL_TIM_Base_Init(&htim2) != HAL_OK)
  {
    Error_Handler();
  }
  sClockSourceConfig.ClockSource = TIM_CLOCKSOURCE_INTERNAL;
  if (HAL_TIM_ConfigClockSource(&htim2, &sClockSourceConfig) != HAL_OK)
  {
    Error_Handler();
  }
  sMasterConfig.MasterOutputTrigger = TIM_TRGO_UPDATE;
  sMasterConfig.MasterSlaveMode = TIM_MASTERSLAVEMODE_DISABLE;
  if (HAL_TIMEx_MasterConfigSynchronization(&htim2, &sMasterConfig) != HAL_OK)
  {
    Error_Handler();
  }

}

static void MX_DMA_Init(void)
{

  /* DMA controller clock enable */
  __HAL_RCC_DMAMUX1_CLK_ENABLE();
  __HAL_RCC_DMA1_CLK_ENABLE();

  /* DMA interrupt init */
  /* DMA1_Channel1_IRQn interrupt configuration */
  HAL_NVIC_SetPriority(DMA1_Channel1_IRQn, 0, 0);
  HAL_NVIC_EnableIRQ(DMA1_Channel1_IRQn);
  /* DMA1_Channel2_IRQn interrupt configuration */
  HAL_NVIC_SetPriority(DMA1_Channel2_IRQn, 0, 0);
  HAL_NVIC_EnableIRQ(DMA1_Channel2_IRQn);
  /* DMA1_Channel3_IRQn interrupt configuration */
  HAL_NVIC_SetPriority(DMA1_Channel3_IRQn, 0, 0);
  HAL_NVIC_EnableIRQ(DMA1_Channel3_IRQn);
  /* DMA1_Channel4_IRQn interrupt configuration */
  HAL_NVIC_SetPriority(DMA1_Channel4_IRQn, 0, 0);
  HAL_NVIC_EnableIRQ(DMA1_Channel4_IRQn);
  /* DMA1_Channel5_IRQn interrupt configuration */
  HAL_NVIC_SetPriority(DMA1_Channel5_IRQn, 0, 0);
  HAL_NVIC_EnableIRQ(DMA1_Channel5_IRQn);
  /* DMA1_Channel6_IRQn interrupt configuration */
  HAL_NVIC_SetPriority(DMA1_Channel6_IRQn, 0, 0);
  HAL_NVIC_EnableIRQ(DMA1_Channel6_IRQn);

}

static void MX_GPIO_Init(void)
{

  /* GPIO Ports Clock Enable */
  __HAL_RCC_GPIOF_CLK_ENABLE();
  __HAL_RCC_GPIOC_CLK_ENABLE();
  __HAL_RCC_GPIOA_CLK_ENABLE();
  __HAL_RCC_GPIOB_CLK_ENABLE();

}

/* USER CODE BEGIN 4 */
void Average_ADC_Value(void)
{
		for(int i=0;i<4;i++)//ADC1滤波
		{
			for(int j=3;j>=1;j--)
			{
				ADC_Mean[i][j]=ADC_Mean[i][j-1];//数组后移
			}
			ADC_Mean[i][0]=(float)ADC1_Value[i];
			ADC_Value[i]=(ADC_Mean[i][0]+ADC_Mean[i][1]+ADC_Mean[i][2]+ADC_Mean[i][3])/4/4096*10000;
		}
		for(int i=4;i<8;i++)//ADC2滤波
		{
			for(int j=3;j>=1;j--)
			{
				ADC_Mean[i][j]=ADC_Mean[i][j-1];//数组后移
			}
			ADC_Mean[i][0]=(float)ADC2_Value[i-4];
			ADC_Value[i]=(ADC_Mean[i][0]+ADC_Mean[i][1]+ADC_Mean[i][2]+ADC_Mean[i][3])/4/4096*10000;
		}
		for(int i=8;i<10;i++)//ADC3滤波
		{
			for(int j=3;j>=1;j--)
			{
				ADC_Mean[i][j]=ADC_Mean[i][j-1];//数组后移
			}
			ADC_Mean[i][0]=(float)ADC3_Value[i-8];
			ADC_Value[i]=(ADC_Mean[i][0]+ADC_Mean[i][1]+ADC_Mean[i][2]+ADC_Mean[i][3])/4/4096*10000;
		}
		for(int i=10;i<12;i++)//ADC4滤波
		{
			for(int j=3;j>=1;j--)
			{
				ADC_Mean[i][j]=ADC_Mean[i][j-1];//数组后移
			}
			ADC_Mean[i][0]=(float)ADC4_Value[i-10];
			ADC_Value[i]=(ADC_Mean[i][0]+ADC_Mean[i][1]+ADC_Mean[i][2]+ADC_Mean[i][3])/4/4096*10000;
		}
}

void LED_Control(void)
{
	TIM2_Count++;
	if(TIM2_Count>=Sample_Frequency*LED_Frequency)
	{
		TIM2_Count=0;
		LED_Frequency=LED_Frequency+0.2f;
		if(LED_Frequency>=2.0f)LED_Frequency=1.0f;
	}
	TIM_Duty=(float)TIM2_Count/Sample_Frequency*LED_Frequency;
	if(TIM_Duty>=1)TIM_Duty=TIM_Duty-1;
	cordic_calculate_start(TIM_Duty);//输入为0-1
	cordic_get_result(&sin_test,&cos_test);
	__HAL_TIM_SET_COMPARE(&htim1,TIM_CHANNEL_1,1000*sin_test+1000);//呼吸灯的占空比改变
}

uint8_t FDCAN1_Send_Msg(uint8_t* msg,uint32_t len)
{
  fdcan1_TxHeader.Identifier=0x40;                           //32位ID
  fdcan1_TxHeader.IdType=FDCAN_STANDARD_ID;                  //标准ID
  fdcan1_TxHeader.TxFrameType=FDCAN_DATA_FRAME;              //数据帧
  fdcan1_TxHeader.DataLength=len;                            //数据长度
  fdcan1_TxHeader.ErrorStateIndicator=FDCAN_ESI_ACTIVE;
  fdcan1_TxHeader.BitRateSwitch=FDCAN_BRS_OFF;               //关闭速率切换
  fdcan1_TxHeader.FDFormat=FDCAN_CLASSIC_CAN;                //传统的CAN模式
  fdcan1_TxHeader.TxEventFifoControl=FDCAN_NO_TX_EVENTS;     //无发送事件
  fdcan1_TxHeader.MessageMarker=0;

  if(HAL_FDCAN_AddMessageToTxFifoQ(&hfdcan1,&fdcan1_TxHeader,msg)!=HAL_OK) return 1;//发送
  return 0;
}

/* USER CODE END 4 */

void Error_Handler(void)
{
  __disable_irq();
  while (1)
  {
  }
}
